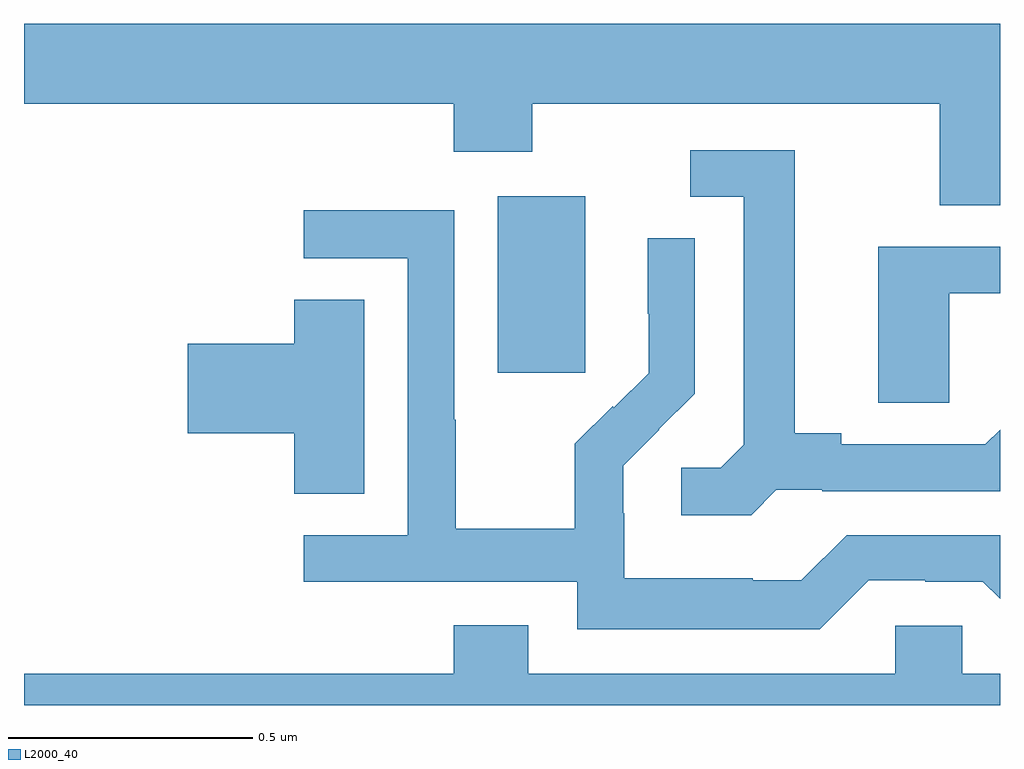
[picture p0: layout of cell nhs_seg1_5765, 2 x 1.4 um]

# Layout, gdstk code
import gdstk
lib = gdstk.Library(unit=1e-6, precision=1e-09)
def R(c, l, rs):  # rectangles x0, y0, x1, y1
    for r in rs: c.add(gdstk.rectangle(r[:2], r[2:], *l))
def P(c, l, *ps):  # polygons
    for p in ps: c.add(gdstk.Polygon(p, *l))
L2000_40 = (2000, 40)

nhs_seg1_5765 = lib.new_cell('nhs_seg1_5765')
R(nhs_seg1_5765, L2000_40, [(183.971,517.881,184.15,518.242)])
P(nhs_seg1_5765, L2000_40, [(185,518.596),(183,518.596),(183,518.432),(183.881,518.432),(183.881,518.333),(184.041,518.333),(184.041,518.432),(184.877,518.432),(184.877,518.224),(185,518.224)],
  [(184.542,517.641),(184.636,517.641),(184.636,517.638),(185,517.638),(185,517.764),(184.97,517.734),(184.675,517.734),(184.675,517.757),(184.579,517.757),(184.579,518.337),(184.365,518.337),(184.365,518.241),(184.475,518.241),(184.475,517.733),(184.428,517.686),(184.347,517.686),(184.347,517.589),(184.49,517.589)],
  [(184.731,517.455),(184.847,517.455),(184.847,517.452),(184.965,517.452),(185,517.417),(185,517.548),(184.686,517.548),(184.593,517.455),(184.493,517.455),(184.493,517.459),(184.23,517.459),(184.23,517.593),(184.228,517.593),(184.228,517.69),(184.302,517.764),(184.301,517.765),(184.374,517.838),(184.374,518.156),(184.278,518.156),(184.278,518.002),(184.28,518.002),(184.28,517.88),(184.209,517.809),(184.206,517.812),(184.129,517.735),(184.129,517.561),(183.885,517.561),(183.885,517.784),(183.882,517.784),(183.882,518.214),(183.573,518.214),(183.573,518.115),(183.786,518.115),(183.786,517.548),(183.573,517.548),(183.573,517.452),(184.134,517.452),(184.134,517.355),(184.631,517.355)],
  [(184.896,518.043),(185,518.043),(185,518.139),(184.751,518.139),(184.751,517.819),(184.896,517.819)],
  [(183.697,518.03),(183.554,518.03),(183.554,517.94),(183.336,517.94),(183.336,517.757),(183.554,517.757),(183.554,517.633),(183.697,517.633)],
  [(185,517.264),(184.923,517.264),(184.923,517.362),(184.785,517.362),(184.785,517.264),(184.033,517.264),(184.033,517.363),(183.881,517.363),(183.881,517.264),(183,517.264),(183,517.199),(185,517.199)])

lib.write_gds('nhs_seg1_5765.gds')
